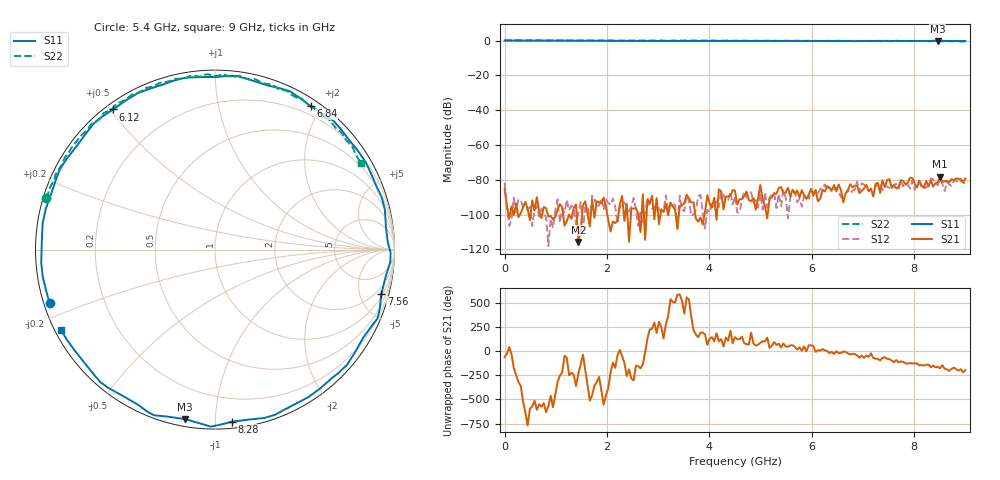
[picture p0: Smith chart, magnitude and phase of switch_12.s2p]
# Hz S DB R 50
! CMT, SC5090, 24087134, 25.3.3/4
! Date: 26.11.2025 16:46:32
! Data: Format (Calibration Info)
! Freq	S11:dB/Ang(F2)	S21:dB/Ang(F2)	S12:dB/Ang(F2)	S22:dB/Ang(F2)
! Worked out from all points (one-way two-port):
!   201 points, 300 kHz to 9 GHz, reference 50 ohm
!   highest |S21| = -78.20 dB at 8.505 GHz (marker M1); lowest = -115.7 dB at 1.44 GHz (marker M2)
!   lowest |S11| = -0.4 dB at 8.46 GHz (marker M3), VSWR 47.77, Z = 1.78 - j41.9 ohm
!   |S11| at or under -10 dB: nowhere
!   |S22| runs from -0.5 to 0.0 dB; largest |S21 - S12| = 8.2e-05
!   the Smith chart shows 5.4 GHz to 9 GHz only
!   S11 on the Smith chart (normalised r, x): 5.4 GHz: 0.02, -0.16; 6.12 GHz: 0.02, +0.51; 6.84 GHz: 0.09, +1.86; 7.56 GHz: 1.20, -7.42; 8.28 GHz: 0.04, -1.10; 9 GHz: 0.02, -0.25
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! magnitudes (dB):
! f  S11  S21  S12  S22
! 300 kHz  0.0  -85.4  -81.7  0.0
! 1.44 GHz  -0.1  -115.7  -99.2  0.0
! 1.53 GHz  -0.1  -94.7  -108.8  0.0
! 3.015 GHz  -0.3  -105.6  -97.3  0.0
! 4.5 GHz  -0.2  -86.3  -89.5  -0.1
! 5.4 GHz  -0.3  -84.2  -95.2  -0.2
! 6.03 GHz  -0.2  -89.2  -86.9  -0.2
! 6.12 GHz  -0.3  -92.4  -88.0  -0.2
! 6.84 GHz  -0.3  -83.4  -85.6  -0.2
! 7.515 GHz  -0.3  -79.6  -84.8  -0.2
! 7.56 GHz  -0.4  -84.6  -85.5  -0.3
! 7.875 GHz  -0.2  -81.7  -82.8  -0.3
! 7.92 GHz  -0.3  -78.8  -85.2  -0.3
! 8.01 GHz  -0.2  -82.2  -85.7  -0.3
! 8.28 GHz  -0.3  -83.8  -83.0  -0.3
! 8.325 GHz  -0.2  -80.3  -79.2  -0.4
! 8.46 GHz  -0.4  -81.6  -83.3  -0.4
! 8.505 GHz  -0.3  -78.2  -79.6  -0.4
! 8.55 GHz  -0.1  -81.3  -82.4  -0.3
! 8.82 GHz  -0.3  -79.2  -80.4  -0.4
! 8.955 GHz  -0.3  -81.5  -80.6  -0.5
! 9 GHz  -0.3  -79.3  -84.0  -0.5
